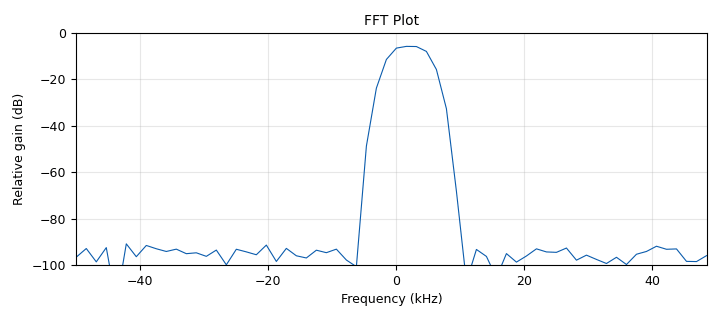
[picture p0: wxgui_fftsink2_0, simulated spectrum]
<?xml version='1.0' encoding='utf-8'?>
<?grc format='1' created='3.7.11'?>
<flow_graph>
<block>
<key>options</key>
<param><key>id</key><value>top_block</value></param>
<param><key>generate_options</key><value>wx_gui</value></param>
</block>
<block>
<key>variable_slider</key>
<param><key>id</key><value>fin</value></param>
<param><key>converver</key><value>float_converter</value></param>
<param><key>value</key><value>2000</value></param>
<param><key>label</key><value></value></param>
<param><key>max</key><value>2100</value></param>
<param><key>min</key><value>2000</value></param>
<param><key>num_steps</key><value>10</value></param>
<param><key>style</key><value>wx.SL_HORIZONTAL</value></param>
</block>
<block>
<key>variable_slider</key>
<param><key>id</key><value>noise</value></param>
<param><key>converver</key><value>float_converter</value></param>
<param><key>value</key><value>0.0001</value></param>
<param><key>label</key><value></value></param>
<param><key>max</key><value>1</value></param>
<param><key>min</key><value>0.0001</value></param>
<param><key>num_steps</key><value>999</value></param>
<param><key>style</key><value>wx.SL_HORIZONTAL</value></param>
</block>
<block>
<key>variable</key>
<param><key>id</key><value>samp_rate</value></param>
<param><key>value</key><value>100e3</value></param>
</block>
<block>
<key>analog_noise_source_x</key>
<param><key>id</key><value>analog_noise_source_x_0</value></param>
<param><key>amp</key><value>noise</value></param>
<param><key>noise_type</key><value>analog.GR_GAUSSIAN</value></param>
<param><key>type</key><value>complex</value></param>
<param><key>seed</key><value>0</value></param>
</block>
<block>
<key>analog_sig_source_x</key>
<param><key>id</key><value>analog_sig_source_x_0</value></param>
<param><key>amp</key><value>1</value></param>
<param><key>freq</key><value>fin</value></param>
<param><key>offset</key><value>0</value></param>
<param><key>type</key><value>complex</value></param>
<param><key>samp_rate</key><value>samp_rate</value></param>
<param><key>waveform</key><value>analog.GR_COS_WAVE</value></param>
</block>
<block>
<key>blocks_add_xx</key>
<param><key>id</key><value>blocks_add_xx_0</value></param>
<param><key>type</key><value>complex</value></param>
</block>
<block>
<key>blocks_rms_xx</key>
<param><key>id</key><value>blocks_rms_xx_0</value></param>
<param><key>alpha</key><value>0.0001</value></param>
<param><key>type</key><value>complex</value></param>
</block>
<block>
<key>blocks_rms_xx</key>
<param><key>id</key><value>blocks_rms_xx_0_0</value></param>
<param><key>alpha</key><value>0.0001</value></param>
<param><key>type</key><value>complex</value></param>
</block>
<block>
<key>blocks_throttle</key>
<param><key>id</key><value>blocks_throttle_0</value></param>
<param><key>samples_per_second</key><value>samp_rate</value></param>
<param><key>type</key><value>complex</value></param>
</block>
<block>
<key>wxgui_fftsink2</key>
<param><key>id</key><value>wxgui_fftsink2_0</value></param>
<param><key>avg_alpha</key><value>0</value></param>
<param><key>average</key><value>False</value></param>
<param><key>baseband_freq</key><value>0</value></param>
<param><key>fft_size</key><value>64</value></param>
<param><key>freqvar</key><value>None</value></param>
<param><key>peak_hold</key><value>False</value></param>
<param><key>ref_level</key><value>0</value></param>
<param><key>ref_scale</key><value>2</value></param>
<param><key>fft_rate</key><value>15</value></param>
<param><key>samp_rate</key><value>samp_rate</value></param>
<param><key>title</key><value>FFT Plot</value></param>
<param><key>type</key><value>complex</value></param>
<param><key>win_size</key><value>800,1200</value></param>
<param><key>win</key><value>window.flattop</value></param>
<param><key>y_divs</key><value>10</value></param>
<param><key>y_per_div</key><value>10</value></param>
</block>
<block>
<key>wxgui_numbersink2</key>
<param><key>id</key><value>wxgui_numbersink2_0</value></param>
<param><key>avg_alpha</key><value>0</value></param>
<param><key>average</key><value>False</value></param>
<param><key>decimal_places</key><value>10</value></param>
<param><key>factor</key><value>1.0</value></param>
<param><key>max_value</key><value>100</value></param>
<param><key>min_value</key><value>-100</value></param>
<param><key>number_rate</key><value>15</value></param>
<param><key>peak_hold</key><value>False</value></param>
<param><key>ref_level</key><value>0</value></param>
<param><key>samp_rate</key><value>samp_rate</value></param>
<param><key>show_gauge</key><value>True</value></param>
<param><key>title</key><value>Number Plot</value></param>
<param><key>type</key><value>float</value></param>
<param><key>units</key><value>Units</value></param>
</block>
<block>
<key>wxgui_numbersink2</key>
<param><key>id</key><value>wxgui_numbersink2_0_0</value></param>
<param><key>avg_alpha</key><value>0</value></param>
<param><key>average</key><value>False</value></param>
<param><key>decimal_places</key><value>10</value></param>
<param><key>factor</key><value>1.0</value></param>
<param><key>max_value</key><value>100</value></param>
<param><key>min_value</key><value>-100</value></param>
<param><key>number_rate</key><value>15</value></param>
<param><key>peak_hold</key><value>False</value></param>
<param><key>ref_level</key><value>0</value></param>
<param><key>samp_rate</key><value>samp_rate</value></param>
<param><key>show_gauge</key><value>True</value></param>
<param><key>title</key><value>Number Plot</value></param>
<param><key>type</key><value>float</value></param>
<param><key>units</key><value>Units</value></param>
</block>
<connection><source_block_id>analog_noise_source_x_0</source_block_id><sink_block_id>blocks_add_xx_0</sink_block_id><source_key>0</source_key><sink_key>0</sink_key></connection>
<connection><source_block_id>analog_noise_source_x_0</source_block_id><sink_block_id>blocks_rms_xx_0</sink_block_id><source_key>0</source_key><sink_key>0</sink_key></connection>
<connection><source_block_id>analog_sig_source_x_0</source_block_id><sink_block_id>blocks_add_xx_0</sink_block_id><source_key>0</source_key><sink_key>1</sink_key></connection>
<connection><source_block_id>analog_sig_source_x_0</source_block_id><sink_block_id>blocks_rms_xx_0_0</sink_block_id><source_key>0</source_key><sink_key>0</sink_key></connection>
<connection><source_block_id>blocks_add_xx_0</source_block_id><sink_block_id>blocks_throttle_0</sink_block_id><source_key>0</source_key><sink_key>0</sink_key></connection>
<connection><source_block_id>blocks_rms_xx_0</source_block_id><sink_block_id>wxgui_numbersink2_0</sink_block_id><source_key>0</source_key><sink_key>0</sink_key></connection>
<connection><source_block_id>blocks_rms_xx_0_0</source_block_id><sink_block_id>wxgui_numbersink2_0_0</sink_block_id><source_key>0</source_key><sink_key>0</sink_key></connection>
<connection><source_block_id>blocks_throttle_0</source_block_id><sink_block_id>wxgui_fftsink2_0</sink_block_id><source_key>0</source_key><sink_key>0</sink_key></connection>
</flow_graph>
